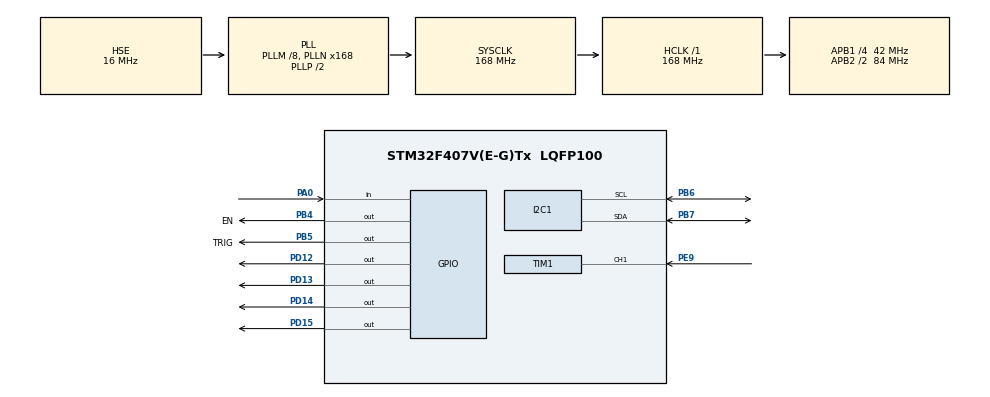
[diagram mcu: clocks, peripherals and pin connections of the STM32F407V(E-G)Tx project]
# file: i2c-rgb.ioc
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I2C1.I2C_Mode=I2C_Fast
Mcu.Family=STM32F4
Mcu.Name=STM32F407V(E-G)Tx
Mcu.Package=LQFP100
NVIC.PriorityGroup=NVIC_PRIORITYGROUP_4
NVIC.TIM1_UP_TIM10_IRQn=true\:0\:0\:false\:false\:true\:true\:true
PA0-WKUP.Signal=GPIO_Input
PA13.Mode=Serial_Wire
PA13.Signal=SYS_JTMS-SWDIO
PA14.Mode=Serial_Wire
PA14.Signal=SYS_JTCK-SWCLK
PB4.GPIO_Label=EN
PB4.GPIO_PuPd=GPIO_PULLUP
PB4.PinState=GPIO_PIN_SET
PB4.Signal=GPIO_Output
PB5.GPIO_Label=TRIG
PB5.GPIO_PuPd=GPIO_PULLUP
PB5.GPIO_Speed=GPIO_SPEED_FREQ_HIGH
PB5.PinState=GPIO_PIN_SET
PB5.Signal=GPIO_Output
PB6.Mode=I2C
PB6.Signal=I2C1_SCL
PB7.Mode=I2C
PB7.Signal=I2C1_SDA
PC14-OSC32_IN.Mode=LSE-External-Oscillator
PC14-OSC32_IN.Signal=RCC_OSC32_IN
PC15-OSC32_OUT.Mode=LSE-External-Oscillator
PC15-OSC32_OUT.Signal=RCC_OSC32_OUT
PD12.Signal=GPIO_Output
PD13.Signal=GPIO_Output
PD14.Signal=GPIO_Output
PD15.Signal=GPIO_Output
PE9.Signal=S_TIM1_CH1
PH0-OSC_IN.Mode=HSE-External-Oscillator
PH0-OSC_IN.Signal=RCC_OSC_IN
PH1-OSC_OUT.Mode=HSE-External-Oscillator
PH1-OSC_OUT.Signal=RCC_OSC_OUT
ProjectManager.HeapSize=0x200
ProjectManager.StackSize=0x400
ProjectManager.TargetToolchain=MDK-ARM V5
RCC.48MHZClocksFreq_Value=84000000
RCC.AHBFreq_Value=168000000
RCC.APB1CLKDivider=RCC_HCLK_DIV4
RCC.APB1Freq_Value=42000000
RCC.APB1TimFreq_Value=84000000
RCC.APB2CLKDivider=RCC_HCLK_DIV2
RCC.APB2Freq_Value=84000000
RCC.APB2TimFreq_Value=168000000
RCC.CortexFreq_Value=168000000
RCC.HCLKFreq_Value=168000000
RCC.HSE_VALUE=16000000
RCC.HSI_VALUE=16000000
RCC.PLLM=8
RCC.PLLN=168
RCC.PLLSourceVirtual=RCC_PLLSOURCE_HSE
RCC.SYSCLKFreq_VALUE=168000000
RCC.SYSCLKSource=RCC_SYSCLKSOURCE_PLLCLK
RCC.VCOOutputFreq_Value=336000000
SH.S_TIM1_CH1.0=TIM1_CH1,Input_Capture1_from_TI1
TIM1.Channel-Input_Capture1_from_TI1=TIM_CHANNEL_1
TIM1.Period=9
TIM1.Prescaler=255
board=custom

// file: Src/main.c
/* USER CODE BEGIN Header */
/**
  ******************************************************************************
  * @file           : main.c
  * @brief          : Main program body
  ******************************************************************************
  * @attention
  *
  * <h2><center>&copy; Copyright (c) 2019 STMicroelectronics.
  * All rights reserved.</center></h2>
  *
  * This software component is licensed by ST under BSD 3-Clause license,
  * the "License"; You may not use this file except in compliance with the
  * License. You may obtain a copy of the License at:
  *                        opensource.org/licenses/BSD-3-Clause
  *
  ******************************************************************************
  */
/* USER CODE END Header */

#include "main.h"

/* USER CODE BEGIN Includes */
#include "TPS68401_RGB.h"
/* USER CODE END Includes */

/* USER CODE BEGIN PTD */
I2C_HandleTypeDef hi2c1;
/* USER CODE END PTD */

I2C_HandleTypeDef hi2c1;

TIM_HandleTypeDef htim1;

void SystemClock_Config(void);
static void MX_GPIO_Init(void);
static void MX_I2C1_Init(void);
static void MX_TIM1_Init(void);

int main(void)
{

  /* MCU Configuration--------------------------------------------------------*/

  /* Reset of all peripherals, Initializes the Flash interface and the Systick. */
  HAL_Init();

  /* Configure the system clock */
  SystemClock_Config();

  /* Initialize all configured peripherals */
  MX_GPIO_Init();
  MX_I2C1_Init();
  MX_TIM1_Init();
  /* USER CODE BEGIN 2 */

	HAL_Delay(3);

	rgb_init(0);
	rgb_init(1);
	rgb_init(2);
	rgb_init(3);

	rgb_drive(0,0xF64000);
	rgb_drive(1,0xF64000);
	rgb_drive(2,0xF64000);
	rgb_drive(3,0xF64000);

	uint32_t colors[11] = {0x963000,0x00F0F0,0x660050,0x964050,0x069050,0xF030A0,0x002550,0x963000,0x459010,0x1030A0,0xF64000};
  /* USER CODE END 2 */
  /* Infinite loop */
  /* USER CODE BEGIN WHILE */
  while (1)
  {
		int cnt=0;
		while(cnt<4){
			cnt++;
			rgb_drive(0,colors[cnt]);
			rgb_drive(1,colors[cnt-1]);
			rgb_drive(2,colors[cnt]);
			rgb_drive(3,colors[cnt-1]);
			HAL_Delay(500);
		}

    /* USER CODE END WHILE */

		}
}

void SystemClock_Config(void)
{
  RCC_OscInitTypeDef RCC_OscInitStruct = {0};
  RCC_ClkInitTypeDef RCC_ClkInitStruct = {0};

  /** Configure the main internal regulator output voltage
  */
  __HAL_RCC_PWR_CLK_ENABLE();
  __HAL_PWR_VOLTAGESCALING_CONFIG(PWR_REGULATOR_VOLTAGE_SCALE1);
  /** Initializes the CPU, AHB and APB busses clocks
  */
  RCC_OscInitStruct.OscillatorType = RCC_OSCILLATORTYPE_HSE;
  RCC_OscInitStruct.HSEState = RCC_HSE_ON;
  RCC_OscInitStruct.PLL.PLLState = RCC_PLL_ON;
  RCC_OscInitStruct.PLL.PLLSource = RCC_PLLSOURCE_HSE;
  RCC_OscInitStruct.PLL.PLLM = 8;
  RCC_OscInitStruct.PLL.PLLN = 168;
  RCC_OscInitStruct.PLL.PLLP = RCC_PLLP_DIV2;
  RCC_OscInitStruct.PLL.PLLQ = 4;
  if (HAL_RCC_OscConfig(&RCC_OscInitStruct) != HAL_OK)
  {
    Error_Handler();
  }
  /** Initializes the CPU, AHB and APB busses clocks
  */
  RCC_ClkInitStruct.ClockType = RCC_CLOCKTYPE_HCLK|RCC_CLOCKTYPE_SYSCLK
                              |RCC_CLOCKTYPE_PCLK1|RCC_CLOCKTYPE_PCLK2;
  RCC_ClkInitStruct.SYSCLKSource = RCC_SYSCLKSOURCE_PLLCLK;
  RCC_ClkInitStruct.AHBCLKDivider = RCC_SYSCLK_DIV1;
  RCC_ClkInitStruct.APB1CLKDivider = RCC_HCLK_DIV4;
  RCC_ClkInitStruct.APB2CLKDivider = RCC_HCLK_DIV2;

  if (HAL_RCC_ClockConfig(&RCC_ClkInitStruct, FLASH_LATENCY_5) != HAL_OK)
  {
    Error_Handler();
  }
}

static void MX_I2C1_Init(void)
{

  hi2c1.Instance = I2C1;
  hi2c1.Init.ClockSpeed = 400000;
  hi2c1.Init.DutyCycle = I2C_DUTYCYCLE_2;
  hi2c1.Init.OwnAddress1 = 0;
  hi2c1.Init.AddressingMode = I2C_ADDRESSINGMODE_7BIT;
  hi2c1.Init.DualAddressMode = I2C_DUALADDRESS_DISABLE;
  hi2c1.Init.OwnAddress2 = 0;
  hi2c1.Init.GeneralCallMode = I2C_GENERALCALL_DISABLE;
  hi2c1.Init.NoStretchMode = I2C_NOSTRETCH_DISABLE;
  if (HAL_I2C_Init(&hi2c1) != HAL_OK)
  {
    Error_Handler();
  }

}

static void MX_TIM1_Init(void)
{

  TIM_MasterConfigTypeDef sMasterConfig = {0};
  TIM_IC_InitTypeDef sConfigIC = {0};

  htim1.Instance = TIM1;
  htim1.Init.Prescaler = 255;
  htim1.Init.CounterMode = TIM_COUNTERMODE_UP;
  htim1.Init.Period = 9;
  htim1.Init.ClockDivision = TIM_CLOCKDIVISION_DIV1;
  htim1.Init.RepetitionCounter = 0;
  htim1.Init.AutoReloadPreload = TIM_AUTORELOAD_PRELOAD_DISABLE;
  if (HAL_TIM_IC_Init(&htim1) != HAL_OK)
  {
    Error_Handler();
  }
  sMasterConfig.MasterOutputTrigger = TIM_TRGO_RESET;
  sMasterConfig.MasterSlaveMode = TIM_MASTERSLAVEMODE_DISABLE;
  if (HAL_TIMEx_MasterConfigSynchronization(&htim1, &sMasterConfig) != HAL_OK)
  {
    Error_Handler();
  }
  sConfigIC.ICPolarity = TIM_INPUTCHANNELPOLARITY_RISING;
  sConfigIC.ICSelection = TIM_ICSELECTION_DIRECTTI;
  sConfigIC.ICPrescaler = TIM_ICPSC_DIV1;
  sConfigIC.ICFilter = 0;
  if (HAL_TIM_IC_ConfigChannel(&htim1, &sConfigIC, TIM_CHANNEL_1) != HAL_OK)
  {
    Error_Handler();
  }

}

static void MX_GPIO_Init(void)
{
  GPIO_InitTypeDef GPIO_InitStruct = {0};

  /* GPIO Ports Clock Enable */
  __HAL_RCC_GPIOC_CLK_ENABLE();
  __HAL_RCC_GPIOH_CLK_ENABLE();
  __HAL_RCC_GPIOA_CLK_ENABLE();
  __HAL_RCC_GPIOE_CLK_ENABLE();
  __HAL_RCC_GPIOD_CLK_ENABLE();
  __HAL_RCC_GPIOB_CLK_ENABLE();

  /*Configure GPIO pin Output Level */
  HAL_GPIO_WritePin(GPIOD, GPIO_PIN_12|GPIO_PIN_13|GPIO_PIN_14|GPIO_PIN_15, GPIO_PIN_RESET);

  /*Configure GPIO pin Output Level */
  HAL_GPIO_WritePin(GPIOB, EN_Pin|TRIG_Pin, GPIO_PIN_SET);

  /*Configure GPIO pin : PA0 */
  GPIO_InitStruct.Pin = GPIO_PIN_0;
  GPIO_InitStruct.Mode = GPIO_MODE_INPUT;
  GPIO_InitStruct.Pull = GPIO_NOPULL;
  HAL_GPIO_Init(GPIOA, &GPIO_InitStruct);

  /*Configure GPIO pins : PD12 PD13 PD14 PD15 */
  GPIO_InitStruct.Pin = GPIO_PIN_12|GPIO_PIN_13|GPIO_PIN_14|GPIO_PIN_15;
  GPIO_InitStruct.Mode = GPIO_MODE_OUTPUT_PP;
  GPIO_InitStruct.Pull = GPIO_NOPULL;
  GPIO_InitStruct.Speed = GPIO_SPEED_FREQ_LOW;
  HAL_GPIO_Init(GPIOD, &GPIO_InitStruct);

  /*Configure GPIO pin : EN_Pin */
  GPIO_InitStruct.Pin = EN_Pin;
  GPIO_InitStruct.Mode = GPIO_MODE_OUTPUT_PP;
  GPIO_InitStruct.Pull = GPIO_PULLUP;
  GPIO_InitStruct.Speed = GPIO_SPEED_FREQ_LOW;
  HAL_GPIO_Init(EN_GPIO_Port, &GPIO_InitStruct);

  /*Configure GPIO pin : TRIG_Pin */
  GPIO_InitStruct.Pin = TRIG_Pin;
  GPIO_InitStruct.Mode = GPIO_MODE_OUTPUT_PP;
  GPIO_InitStruct.Pull = GPIO_PULLUP;
  GPIO_InitStruct.Speed = GPIO_SPEED_FREQ_HIGH;
  HAL_GPIO_Init(TRIG_GPIO_Port, &GPIO_InitStruct);

}

void Error_Handler(void)
{
}

/************************ (C) COPYRIGHT STMicroelectronics *****END OF FILE****/
